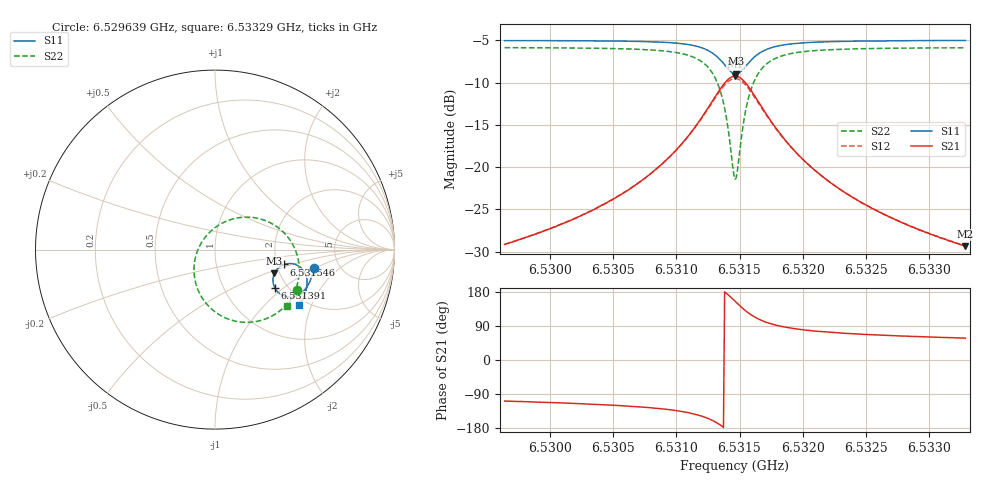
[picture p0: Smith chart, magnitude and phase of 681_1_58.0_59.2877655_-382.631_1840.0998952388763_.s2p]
#  HZ  S  RI  R  50.00
! Rohde & Schwarz Vector Network Analyzer
! Rohde-Schwarz,ZNB20-2Port,1311601062101988,3.16
! Created: UTC 3/21/2024, 1:20:51 AM
! freq[Hz]  re:S11  im:S11  re:S21  im:S21  re:S12  im:S12  re:S22  im:S22
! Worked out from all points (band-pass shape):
!   401 points, 6.529639 GHz to 6.53329 GHz, reference 50 ohm
!   highest |S21| = -9.24 dB at 6.531464 GHz (marker M1); lowest = -29.4 dB at 6.53329 GHz (marker M2)
!   |S21| within 3 dB of the highest: 6.531283 GHz to 6.531648 GHz (364.9 kHz wide, 0.00559 % of centre)
!   lowest |S11| = -9.0 dB at 6.531473 GHz (marker M3), VSWR 2.11, Z = 94.1 - j28.2 ohm
!   |S11| at or under -10 dB: nowhere
!   |S22| runs from -21.4 to -5.9 dB; largest |S21 - S12| = 0.015
!   S11 on the Smith chart (normalised r, x): 6.529639 GHz: 3.23, -0.97; 6.531391 GHz: 1.72, -0.87; 6.531546 GHz: 2.20, -0.43; 6.53329 GHz: 1.83, -1.64
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6.5296391e9  0.5507 -0.1033  -0.011 -0.0331  -0.0118 -0.033  0.4578 -0.2231
6.5302506e9  0.5371 -0.1553  -0.0222 -0.0468  -0.0234 -0.0463  0.4206 -0.2812
6.5305791e9  0.5241 -0.187  -0.0359 -0.0603  -0.0376 -0.0594  0.3848 -0.3211
6.530862e9  0.5041 -0.2192  -0.0619 -0.0791  -0.0643 -0.0774  0.3267 -0.3648
6.5310719e9  0.4734 -0.2474  -0.1075 -0.0985  -0.1105 -0.0945  0.2355 -0.3996
6.5312362e9  0.4201 -0.2641  -0.1906 -0.1002  -0.1923 -0.0918  0.0852 -0.391
6.5313274e9  0.3692 -0.2511  -0.2685 -0.0609  -0.2655 -0.0491  -0.0414 -0.3089
6.5313639e9  0.3471 -0.2333  -0.3007 -0.0238  -0.2943 -0.0121  -0.0876 -0.2404
6.5313913e9  0.3333 -0.2132  -0.3195 0.0145  -0.3102 0.0252  -0.1108 -0.1732
6.5314461e9  0.3234 -0.1592  -0.3245 0.1115  -0.3112 0.1166  -0.1001 -0.0134
6.5314643e9  0.3279 -0.1401  -0.3135 0.1446  -0.2998 0.1473  -0.0756 0.0385
6.5314734e9  0.3315 -0.131  -0.3054 0.1603  -0.292 0.1618  -0.0595 0.0624
6.5314917e9  0.3417 -0.1143  -0.285 0.1887  -0.2724 0.1878  -0.0214 0.1046
6.5315464e9  0.3854 -0.0824  -0.2047 0.2407  -0.1965 0.236  0.1193 0.1755
6.5315738e9  0.4086 -0.0776  -0.1638 0.2481  -0.1576 0.2432  0.1885 0.1806
6.5316103e9  0.4362 -0.0795  -0.1162 0.2447  -0.1123 0.2403  0.2674 0.1663
6.5317016e9  0.4812 -0.1034  -0.0397 0.2077  -0.0381 0.2053  0.3904 0.0877
6.5318385e9  0.5069 -0.1434  0.00479 0.1518  0.00593 0.1509  0.4553 -0.0231
6.5320757e9  0.513 -0.1911  0.0221 0.0964  0.0233 0.0959  0.4687 -0.1358
6.5323313e9  0.5073 -0.2249  0.0237 0.0669  0.0247 0.0668  0.457 -0.201
6.5326872e9  0.4949 -0.2597  0.0216 0.0459  0.0226 0.0455  0.4356 -0.2554
6.5332895e9  0.4706 -0.3066  0.0183 0.0288  0.0189 0.0286  0.4005 -0.3131
